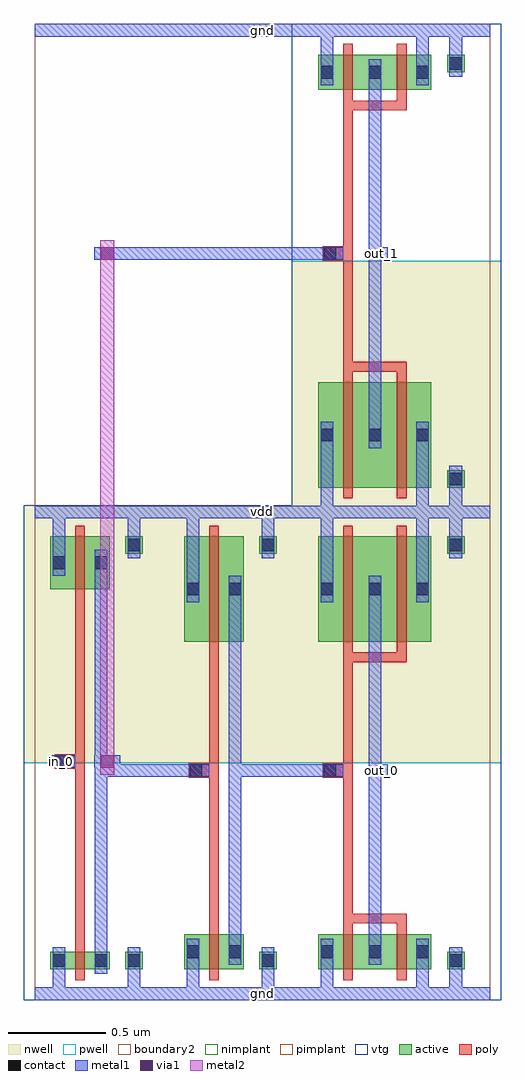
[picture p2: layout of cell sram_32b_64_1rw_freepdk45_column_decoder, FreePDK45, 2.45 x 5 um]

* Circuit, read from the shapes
.subckt sram_32b_64_1rw_freepdk45_column_decoder gnd in_0 out_0 out_1 vdd
M1 sram_32b_64_1rw_freepdk45_pinvbuf_0/sram_32b_64_1rw_freepdk45_pinv_2_1/A in_0 gnd gnd nfet w=0.09u l=0.05u
M2 sram_32b_64_1rw_freepdk45_pinvbuf_0/sram_32b_64_1rw_freepdk45_pinv_3_2/A sram_32b_64_1rw_freepdk45_pinvbuf_0/sram_32b_64_1rw_freepdk45_pinv_2_1/A gnd gnd nfet w=0.18u l=0.05u
M3 out_0 sram_32b_64_1rw_freepdk45_pinvbuf_0/sram_32b_64_1rw_freepdk45_pinv_3_2/A gnd gnd nfet w=0.18u l=0.05u m=2
M4 out_1 sram_32b_64_1rw_freepdk45_pinvbuf_0/sram_32b_64_1rw_freepdk45_pinv_2_1/A gnd gnd nfet w=0.18u l=0.05u m=2
M5 sram_32b_64_1rw_freepdk45_pinvbuf_0/sram_32b_64_1rw_freepdk45_pinv_2_1/A in_0 vdd vdd pfet w=0.27u l=0.05u
M6 sram_32b_64_1rw_freepdk45_pinvbuf_0/sram_32b_64_1rw_freepdk45_pinv_3_2/A sram_32b_64_1rw_freepdk45_pinvbuf_0/sram_32b_64_1rw_freepdk45_pinv_2_1/A vdd vdd pfet w=0.54u l=0.05u
M7 out_0 sram_32b_64_1rw_freepdk45_pinvbuf_0/sram_32b_64_1rw_freepdk45_pinv_3_2/A vdd vdd pfet w=0.54u l=0.05u m=2
M8 out_1 sram_32b_64_1rw_freepdk45_pinvbuf_0/sram_32b_64_1rw_freepdk45_pinv_2_1/A vdd vdd pfet w=0.54u l=0.05u m=2
.ends

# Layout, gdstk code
import gdstk
lib = gdstk.Library(unit=1e-6, precision=5e-10)
def R(c, l, rs):  # rectangles x0, y0, x1, y1
    for r in rs: c.add(gdstk.rectangle(r[:2], r[2:], *l))
def A(c, l, x, y, w, h, nx, ny, dx, dy):  # array of equal rectangles
    R(c, l, [(x+i*dx, y+j*dy, x+i*dx+w, y+j*dy+h) for i in range(nx) for j in range(ny)])
active = (1, 0)
pwell = (2, 0)
nwell = (3, 0)
nimplant = (4, 0)
pimplant = (5, 0)
vtg = (6, 0)
poly = (9, 0)
contact = (10, 0)
metal1 = (11, 0)
via1 = (12, 0)
metal2 = (13, 0)
boundary2 = (239, 0)

sram_32b_64_1rw_freepdk4 = lib.new_cell('sram_32b_64_1rw_freepdk45_contact_11')
R(sram_32b_64_1rw_freepdk4, active, [(0,0.0225,0.09,0.1125)])
R(sram_32b_64_1rw_freepdk4, nwell, [(-0.055,-0.0325,0.145,0.1675)])
R(sram_32b_64_1rw_freepdk4, pimplant, [(0,0.0225,0.09,0.1125)])
R(sram_32b_64_1rw_freepdk4, contact, [(0.0125,0.035,0.0775,0.1)])
R(sram_32b_64_1rw_freepdk4, metal1, [(0.0125,0,0.0775,0.135)])
R(sram_32b_64_1rw_freepdk4, boundary2, [(-0.055,-0.0325,0.145,0.1675)])

c_sram_32b_64_1rw_freepdk4 = lib.new_cell('sram_32b_64_1rw_freepdk45_pmos_m1_w0_270_sm1_dm1_da_p')
R(c_sram_32b_64_1rw_freepdk4, active, [(0,0,0.305,0.27)])
R(c_sram_32b_64_1rw_freepdk4, nwell, [(-0.08,-0.08,0.385,0.35)])
R(c_sram_32b_64_1rw_freepdk4, pimplant, [(0,0,0.305,0.27)])
R(c_sram_32b_64_1rw_freepdk4, vtg, [(-0.08,-0.08,0.385,0.35)])
R(c_sram_32b_64_1rw_freepdk4, poly, [(0.1275,-0.055,0.1775,0.325), (0.1275,-0.055,0.1775,0.325)])
R(c_sram_32b_64_1rw_freepdk4, metal1, [(0.0125,0.0675,0.0775,0.2025), (0.2275,0.0675,0.2925,0.2025)])
R(c_sram_32b_64_1rw_freepdk4, boundary2, [(-0.08,-0.08,0.385,0.35)])
c_sram_32b_64_1rw_freepdk4.add(gdstk.Reference(sram_32b_64_1rw_freepdk4, (0,0.0675)))
c_sram_32b_64_1rw_freepdk4.add(gdstk.Reference(sram_32b_64_1rw_freepdk4, (0.215,0.0675)))
c_sram_32b_64_1rw_freepdk4.add(gdstk.Label('G', (0.1525,0.135), layer=9, texttype=0))
c_sram_32b_64_1rw_freepdk4.add(gdstk.Label('S', (0.045,0.135), layer=11, texttype=0))
c_sram_32b_64_1rw_freepdk4.add(gdstk.Label('D', (0.26,0.135), layer=11, texttype=0))

c_sram_32b_64_1rw_freepdk4_ = lib.new_cell('sram_32b_64_1rw_freepdk45_contact_10')
R(c_sram_32b_64_1rw_freepdk4_, active, [(0,0.0225,0.09,0.1125)])
R(c_sram_32b_64_1rw_freepdk4_, pwell, [(-0.055,-0.0325,0.145,0.1675)])
R(c_sram_32b_64_1rw_freepdk4_, nimplant, [(0,0.0225,0.09,0.1125)])
R(c_sram_32b_64_1rw_freepdk4_, contact, [(0.0125,0.035,0.0775,0.1)])
R(c_sram_32b_64_1rw_freepdk4_, metal1, [(0.0125,0,0.0775,0.135)])
R(c_sram_32b_64_1rw_freepdk4_, boundary2, [(-0.055,-0.0325,0.145,0.1675)])

c_sram_32b_64_1rw_freepdk4__ = lib.new_cell('sram_32b_64_1rw_freepdk45_nmos_m1_w0_090_sm1_dm1_da_p')
R(c_sram_32b_64_1rw_freepdk4__, active, [(0,0,0.305,0.09)])
R(c_sram_32b_64_1rw_freepdk4__, pwell, [(-0.08,-0.08,0.385,0.17)])
R(c_sram_32b_64_1rw_freepdk4__, nimplant, [(0,0,0.305,0.09)])
R(c_sram_32b_64_1rw_freepdk4__, vtg, [(-0.08,-0.08,0.385,0.17)])
R(c_sram_32b_64_1rw_freepdk4__, poly, [(0.1275,-0.055,0.1775,0.145), (0.1275,-0.055,0.1775,0.145)])
R(c_sram_32b_64_1rw_freepdk4__, metal1, [(0.0125,-0.0225,0.0775,0.1125), (0.2275,-0.0225,0.2925,0.1125)])
R(c_sram_32b_64_1rw_freepdk4__, boundary2, [(-0.08,-0.08,0.385,0.17)])
c_sram_32b_64_1rw_freepdk4__.add(gdstk.Reference(c_sram_32b_64_1rw_freepdk4_, (0,-0.0225)))
c_sram_32b_64_1rw_freepdk4__.add(gdstk.Reference(c_sram_32b_64_1rw_freepdk4_, (0.215,-0.0225)))
c_sram_32b_64_1rw_freepdk4__.add(gdstk.Label('G', (0.1525,0.045), layer=9, texttype=0))
c_sram_32b_64_1rw_freepdk4__.add(gdstk.Label('S', (0.045,0.045), layer=11, texttype=0))
c_sram_32b_64_1rw_freepdk4__.add(gdstk.Label('D', (0.26,0.045), layer=11, texttype=0))

c_sram_32b_64_1rw_freepdk4___ = lib.new_cell('sram_32b_64_1rw_freepdk45_contact_12')
R(c_sram_32b_64_1rw_freepdk4___, active, [(0,0.0225,0.09,0.1125)])
R(c_sram_32b_64_1rw_freepdk4___, nwell, [(-0.055,-0.0325,0.145,0.1675)])
R(c_sram_32b_64_1rw_freepdk4___, nimplant, [(0,0.0225,0.09,0.1125)])
R(c_sram_32b_64_1rw_freepdk4___, contact, [(0.0125,0.035,0.0775,0.1)])
R(c_sram_32b_64_1rw_freepdk4___, metal1, [(0.0125,0,0.0775,0.135)])
R(c_sram_32b_64_1rw_freepdk4___, boundary2, [(-0.055,-0.0325,0.145,0.1675)])

c_sram_32b_64_1rw_freepdk4____ = lib.new_cell('sram_32b_64_1rw_freepdk45_contact_13')
R(c_sram_32b_64_1rw_freepdk4____, active, [(0,0.0225,0.09,0.1125)])
R(c_sram_32b_64_1rw_freepdk4____, pwell, [(-0.055,-0.0325,0.145,0.1675)])
R(c_sram_32b_64_1rw_freepdk4____, pimplant, [(0,0.0225,0.09,0.1125)])
R(c_sram_32b_64_1rw_freepdk4____, contact, [(0.0125,0.035,0.0775,0.1)])
R(c_sram_32b_64_1rw_freepdk4____, metal1, [(0.0125,0,0.0775,0.135)])
R(c_sram_32b_64_1rw_freepdk4____, boundary2, [(-0.055,-0.0325,0.145,0.1675)])

c_sram_32b_64_1rw_freepdk4_____ = lib.new_cell('sram_32b_64_1rw_freepdk45_contact_14')
R(c_sram_32b_64_1rw_freepdk4_____, poly, [(0.03,0,0.105,0.075)])
R(c_sram_32b_64_1rw_freepdk4_____, contact, [(0.035,0.005,0.1,0.07)])
R(c_sram_32b_64_1rw_freepdk4_____, metal1, [(0,0.005,0.135,0.07)])
R(c_sram_32b_64_1rw_freepdk4_____, boundary2, [(0,0,0.135,0.075)])

c_sram_32b_64_1rw_freepdk4______ = lib.new_cell('sram_32b_64_1rw_freepdk45_pinv_1')
R(c_sram_32b_64_1rw_freepdk4______, pwell, [(-0.055,-0.0325,0.7425,1.185)])
R(c_sram_32b_64_1rw_freepdk4______, nwell, [(-0.055,1.185,0.7425,2.505)])
R(c_sram_32b_64_1rw_freepdk4______, vtg, [(-0.055,-0.0325,0.7425,1.185), (-0.055,1.185,0.7425,2.505)])
R(c_sram_32b_64_1rw_freepdk4______, poly, [(0.2075,0.27,0.2575,2.02), (0.14,1.1525,0.2075,1.2275)])
R(c_sram_32b_64_1rw_freepdk4______, metal1, [(0,-0.0325,0.6875,0.0325), (0.0925,-0.0325,0.1575,0.1025), (0.4775,0,0.5425,0.17), (0.3075,0.1025,0.3725,2.2775), (0.0725,1.1575,0.2075,1.2225), (0.34,1.1575,0.405,1.2225), (0.0925,2.1425,0.1575,2.5025), (0.4775,2.3,0.5425,2.47), (0,2.4375,0.6875,2.5025)])
R(c_sram_32b_64_1rw_freepdk4______, boundary2, [(0,0,0.6875,2.47), (0,0,0.6875,2.47)])
c_sram_32b_64_1rw_freepdk4______.add(gdstk.Reference(c_sram_32b_64_1rw_freepdk4, (0.08,2.075)))
c_sram_32b_64_1rw_freepdk4______.add(gdstk.Reference(c_sram_32b_64_1rw_freepdk4__, (0.08,0.125)))
c_sram_32b_64_1rw_freepdk4______.add(gdstk.Reference(c_sram_32b_64_1rw_freepdk4___, (0.465,2.2325)))
c_sram_32b_64_1rw_freepdk4______.add(gdstk.Reference(c_sram_32b_64_1rw_freepdk4____, (0.465,0.1025)))
c_sram_32b_64_1rw_freepdk4______.add(gdstk.Reference(c_sram_32b_64_1rw_freepdk4_____, (0.0725,1.1525)))
c_sram_32b_64_1rw_freepdk4______.add(gdstk.Label('A', (0.14,1.19), layer=11, texttype=0))
c_sram_32b_64_1rw_freepdk4______.add(gdstk.Label('Z', (0.3725,1.19), layer=11, texttype=0))
c_sram_32b_64_1rw_freepdk4______.add(gdstk.Label('gnd', (0.344,0), layer=11, texttype=0))
c_sram_32b_64_1rw_freepdk4______.add(gdstk.Label('vdd', (0.344,2.47), layer=11, texttype=0))

c_sram_32b_64_1rw_freepdk4_______ = lib.new_cell('sram_32b_64_1rw_freepdk45_pmos_m1_w0_540_sm1_dm1_da_p')
R(c_sram_32b_64_1rw_freepdk4_______, active, [(0,0,0.305,0.54)])
R(c_sram_32b_64_1rw_freepdk4_______, nwell, [(-0.08,-0.08,0.385,0.62)])
R(c_sram_32b_64_1rw_freepdk4_______, pimplant, [(0,0,0.305,0.54)])
R(c_sram_32b_64_1rw_freepdk4_______, vtg, [(-0.08,-0.08,0.385,0.62)])
R(c_sram_32b_64_1rw_freepdk4_______, poly, [(0.1275,-0.055,0.1775,0.595), (0.1275,-0.055,0.1775,0.595)])
R(c_sram_32b_64_1rw_freepdk4_______, metal1, [(0.0125,0.2025,0.0775,0.3375), (0.2275,0.2025,0.2925,0.3375)])
R(c_sram_32b_64_1rw_freepdk4_______, boundary2, [(-0.08,-0.08,0.385,0.62)])
c_sram_32b_64_1rw_freepdk4_______.add(gdstk.Reference(sram_32b_64_1rw_freepdk4, (0,0.2025)))
c_sram_32b_64_1rw_freepdk4_______.add(gdstk.Reference(sram_32b_64_1rw_freepdk4, (0.215,0.2025)))
c_sram_32b_64_1rw_freepdk4_______.add(gdstk.Label('G', (0.1525,0.27), layer=9, texttype=0))
c_sram_32b_64_1rw_freepdk4_______.add(gdstk.Label('S', (0.045,0.27), layer=11, texttype=0))
c_sram_32b_64_1rw_freepdk4_______.add(gdstk.Label('D', (0.26,0.27), layer=11, texttype=0))

c_sram_32b_64_1rw_freepdk4________ = lib.new_cell('sram_32b_64_1rw_freepdk45_nmos_m1_w0_180_sm1_dm1_da_p')
R(c_sram_32b_64_1rw_freepdk4________, active, [(0,0,0.305,0.18)])
R(c_sram_32b_64_1rw_freepdk4________, pwell, [(-0.08,-0.08,0.385,0.26)])
R(c_sram_32b_64_1rw_freepdk4________, nimplant, [(0,0,0.305,0.18)])
R(c_sram_32b_64_1rw_freepdk4________, vtg, [(-0.08,-0.08,0.385,0.26)])
R(c_sram_32b_64_1rw_freepdk4________, poly, [(0.1275,-0.055,0.1775,0.235), (0.1275,-0.055,0.1775,0.235)])
R(c_sram_32b_64_1rw_freepdk4________, metal1, [(0.0125,0.0225,0.0775,0.1575), (0.2275,0.0225,0.2925,0.1575)])
R(c_sram_32b_64_1rw_freepdk4________, boundary2, [(-0.08,-0.08,0.385,0.26)])
c_sram_32b_64_1rw_freepdk4________.add(gdstk.Reference(c_sram_32b_64_1rw_freepdk4_, (0,0.0225)))
c_sram_32b_64_1rw_freepdk4________.add(gdstk.Reference(c_sram_32b_64_1rw_freepdk4_, (0.215,0.0225)))
c_sram_32b_64_1rw_freepdk4________.add(gdstk.Label('G', (0.1525,0.09), layer=9, texttype=0))
c_sram_32b_64_1rw_freepdk4________.add(gdstk.Label('S', (0.045,0.09), layer=11, texttype=0))
c_sram_32b_64_1rw_freepdk4________.add(gdstk.Label('D', (0.26,0.09), layer=11, texttype=0))

c_sram_32b_64_1rw_freepdk4_________ = lib.new_cell('sram_32b_64_1rw_freepdk45_pinv_2')
R(c_sram_32b_64_1rw_freepdk4_________, pwell, [(-0.055,-0.0325,0.7425,1.185)])
R(c_sram_32b_64_1rw_freepdk4_________, nwell, [(-0.055,1.185,0.7425,2.505)])
R(c_sram_32b_64_1rw_freepdk4_________, vtg, [(-0.055,-0.0325,0.7425,1.185), (-0.055,1.185,0.7425,2.505)])
R(c_sram_32b_64_1rw_freepdk4_________, poly, [(0.2075,0.36,0.2575,1.75), (0.14,1.1075,0.2075,1.1825)])
R(c_sram_32b_64_1rw_freepdk4_________, metal1, [(0,-0.0325,0.6875,0.0325), (0.0925,-0.0325,0.1575,0.1475), (0.4775,0,0.5425,0.17), (0.3075,0.1475,0.3725,2.1425), (0.0725,1.1125,0.2075,1.1775), (0.34,1.1125,0.405,1.1775), (0.0925,2.0075,0.1575,2.5025), (0.4775,2.3,0.5425,2.47), (0,2.4375,0.6875,2.5025)])
R(c_sram_32b_64_1rw_freepdk4_________, boundary2, [(0,0,0.6875,2.47), (0,0,0.6875,2.47)])
c_sram_32b_64_1rw_freepdk4_________.add(gdstk.Reference(c_sram_32b_64_1rw_freepdk4_______, (0.08,1.805)))
c_sram_32b_64_1rw_freepdk4_________.add(gdstk.Reference(c_sram_32b_64_1rw_freepdk4________, (0.08,0.125)))
c_sram_32b_64_1rw_freepdk4_________.add(gdstk.Reference(c_sram_32b_64_1rw_freepdk4___, (0.465,2.2325)))
c_sram_32b_64_1rw_freepdk4_________.add(gdstk.Reference(c_sram_32b_64_1rw_freepdk4____, (0.465,0.1025)))
c_sram_32b_64_1rw_freepdk4_________.add(gdstk.Reference(c_sram_32b_64_1rw_freepdk4_____, (0.0725,1.1075)))
c_sram_32b_64_1rw_freepdk4_________.add(gdstk.Label('A', (0.14,1.145), layer=11, texttype=0))
c_sram_32b_64_1rw_freepdk4_________.add(gdstk.Label('Z', (0.3725,1.145), layer=11, texttype=0))
c_sram_32b_64_1rw_freepdk4_________.add(gdstk.Label('gnd', (0.344,0), layer=11, texttype=0))
c_sram_32b_64_1rw_freepdk4_________.add(gdstk.Label('vdd', (0.344,2.47), layer=11, texttype=0))

c_sram_32b_64_1rw_freepdk4__________ = lib.new_cell('sram_32b_64_1rw_freepdk45_pmos_m2_w0_540_sm1_dm1_da_p')
R(c_sram_32b_64_1rw_freepdk4__________, active, [(0,0,0.58,0.54)])
R(c_sram_32b_64_1rw_freepdk4__________, nwell, [(-0.08,-0.08,0.66,0.62)])
R(c_sram_32b_64_1rw_freepdk4__________, pimplant, [(0,0,0.58,0.54)])
R(c_sram_32b_64_1rw_freepdk4__________, vtg, [(-0.08,-0.08,0.66,0.62)])
R(c_sram_32b_64_1rw_freepdk4__________, poly, [(0.1275,-0.105,0.4525,-0.055), (0.1275,-0.055,0.1775,0.595), (0.4025,-0.055,0.4525,0.595)])
A(c_sram_32b_64_1rw_freepdk4__________, metal1, 0.0125, 0.2025, 0.065, 0.135, 3, 1, 0.245, 0)
R(c_sram_32b_64_1rw_freepdk4__________, boundary2, [(-0.08,-0.105,0.66,0.62)])
c_sram_32b_64_1rw_freepdk4__________.add(gdstk.Reference(sram_32b_64_1rw_freepdk4, (0,0.2025)))
c_sram_32b_64_1rw_freepdk4__________.add(gdstk.Reference(sram_32b_64_1rw_freepdk4, (0.245,0.2025)))
c_sram_32b_64_1rw_freepdk4__________.add(gdstk.Reference(sram_32b_64_1rw_freepdk4, (0.49,0.2025)))
c_sram_32b_64_1rw_freepdk4__________.add(gdstk.Label('G', (0.29,-0.08), layer=9, texttype=0))
c_sram_32b_64_1rw_freepdk4__________.add(gdstk.Label('S', (0.045,0.27), layer=11, texttype=0))
c_sram_32b_64_1rw_freepdk4__________.add(gdstk.Label('S', (0.535,0.27), layer=11, texttype=0))
c_sram_32b_64_1rw_freepdk4__________.add(gdstk.Label('D', (0.29,0.27), layer=11, texttype=0))

c_sram_32b_64_1rw_freepdk4___________ = lib.new_cell('sram_32b_64_1rw_freepdk45_nmos_m2_w0_180_sm1_dm1_da_p')
R(c_sram_32b_64_1rw_freepdk4___________, active, [(0,0,0.58,0.18)])
R(c_sram_32b_64_1rw_freepdk4___________, pwell, [(-0.08,-0.08,0.66,0.26)])
R(c_sram_32b_64_1rw_freepdk4___________, nimplant, [(0,0,0.58,0.18)])
R(c_sram_32b_64_1rw_freepdk4___________, vtg, [(-0.08,-0.08,0.66,0.26)])
R(c_sram_32b_64_1rw_freepdk4___________, poly, [(0.1275,-0.055,0.1775,0.235), (0.4025,-0.055,0.4525,0.235), (0.1275,0.235,0.4525,0.285)])
A(c_sram_32b_64_1rw_freepdk4___________, metal1, 0.0125, 0.0225, 0.065, 0.135, 3, 1, 0.245, 0)
R(c_sram_32b_64_1rw_freepdk4___________, boundary2, [(-0.08,-0.08,0.66,0.285)])
c_sram_32b_64_1rw_freepdk4___________.add(gdstk.Reference(c_sram_32b_64_1rw_freepdk4_, (0,0.0225)))
c_sram_32b_64_1rw_freepdk4___________.add(gdstk.Reference(c_sram_32b_64_1rw_freepdk4_, (0.245,0.0225)))
c_sram_32b_64_1rw_freepdk4___________.add(gdstk.Reference(c_sram_32b_64_1rw_freepdk4_, (0.49,0.0225)))
c_sram_32b_64_1rw_freepdk4___________.add(gdstk.Label('G', (0.29,0.26), layer=9, texttype=0))
c_sram_32b_64_1rw_freepdk4___________.add(gdstk.Label('S', (0.045,0.09), layer=11, texttype=0))
c_sram_32b_64_1rw_freepdk4___________.add(gdstk.Label('S', (0.535,0.09), layer=11, texttype=0))
c_sram_32b_64_1rw_freepdk4___________.add(gdstk.Label('D', (0.29,0.09), layer=11, texttype=0))

c_sram_32b_64_1rw_freepdk4____________ = lib.new_cell('sram_32b_64_1rw_freepdk45_pinv_3')
R(c_sram_32b_64_1rw_freepdk4____________, pwell, [(-0.055,-0.0325,1.0175,1.185)])
R(c_sram_32b_64_1rw_freepdk4____________, nwell, [(-0.055,1.185,1.0175,2.505)])
R(c_sram_32b_64_1rw_freepdk4____________, vtg, [(-0.055,-0.0325,1.0175,1.185), (-0.055,1.185,1.0175,2.505)])
R(c_sram_32b_64_1rw_freepdk4____________, poly, [(0.2075,0.41,0.2575,1.7), (0.14,1.1075,0.2075,1.1825)])
R(c_sram_32b_64_1rw_freepdk4____________, metal1, [(0,-0.0325,0.9625,0.0325), (0.0925,-0.0325,0.1575,0.1475), (0.5825,-0.0325,0.6475,0.1475), (0.7525,0,0.8175,0.17), (0.3375,0.1475,0.4025,2.1425), (0.0725,1.1125,0.2075,1.1775), (0.37,1.1125,0.435,1.1775), (0.0925,2.0075,0.1575,2.5025), (0.5825,2.0075,0.6475,2.5025), (0.7525,2.3,0.8175,2.47), (0,2.4375,0.9625,2.5025)])
R(c_sram_32b_64_1rw_freepdk4____________, boundary2, [(0,0,0.9625,2.47), (0,0,0.9625,2.47)])
c_sram_32b_64_1rw_freepdk4____________.add(gdstk.Reference(c_sram_32b_64_1rw_freepdk4__________, (0.08,1.805)))
c_sram_32b_64_1rw_freepdk4____________.add(gdstk.Reference(c_sram_32b_64_1rw_freepdk4___________, (0.08,0.125)))
c_sram_32b_64_1rw_freepdk4____________.add(gdstk.Reference(c_sram_32b_64_1rw_freepdk4___, (0.74,2.2325)))
c_sram_32b_64_1rw_freepdk4____________.add(gdstk.Reference(c_sram_32b_64_1rw_freepdk4____, (0.74,0.1025)))
c_sram_32b_64_1rw_freepdk4____________.add(gdstk.Reference(c_sram_32b_64_1rw_freepdk4_____, (0.0725,1.1075)))
c_sram_32b_64_1rw_freepdk4____________.add(gdstk.Label('A', (0.14,1.145), layer=11, texttype=0))
c_sram_32b_64_1rw_freepdk4____________.add(gdstk.Label('Z', (0.4025,1.145), layer=11, texttype=0))
c_sram_32b_64_1rw_freepdk4____________.add(gdstk.Label('gnd', (0.481,0), layer=11, texttype=0))
c_sram_32b_64_1rw_freepdk4____________.add(gdstk.Label('vdd', (0.481,2.47), layer=11, texttype=0))

c_sram_32b_64_1rw_freepdk4_____________ = lib.new_cell('sram_32b_64_1rw_freepdk45_contact_17')
R(c_sram_32b_64_1rw_freepdk4_____________, metal1, [(0,0.035,0.135,0.1)])
R(c_sram_32b_64_1rw_freepdk4_____________, via1, [(0.035,0.035,0.1,0.1)])
R(c_sram_32b_64_1rw_freepdk4_____________, metal2, [(0.0325,0,0.1025,0.135)])
R(c_sram_32b_64_1rw_freepdk4_____________, boundary2, [(0,0,0.135,0.135)])

c_sram_32b_64_1rw_freepdk4______________ = lib.new_cell('sram_32b_64_1rw_freepdk45_pinvbuf')
A(c_sram_32b_64_1rw_freepdk4______________, metal1, 0, 0, 2.3375, 0.065, 1, 3, 0, 2.47)
R(c_sram_32b_64_1rw_freepdk4______________, metal1, [(0.34,1.145,0.405,1.21), (0.3725,1.145,0.8275,1.21), (0.795,1.145,0.86,1.21), (1.06,1.145,1.515,1.21), (1.4825,1.145,1.5475,1.21), (1.745,1.145,1.81,1.21), (0.34,1.1775,0.405,1.2225), (0.1075,1.19,0.1725,1.255), (0.3725,3.795,1.515,3.86), (1.745,3.795,1.81,3.86)])
R(c_sram_32b_64_1rw_freepdk4______________, metal2, [(0.3375,1.2225,0.4075,3.8275)])
R(c_sram_32b_64_1rw_freepdk4______________, boundary2, [(0,0,2.3375,4.94), (0,0.0325,2.3375,4.9725)])
c_sram_32b_64_1rw_freepdk4______________.add(gdstk.Reference(c_sram_32b_64_1rw_freepdk4______, (0,0.0325)))
c_sram_32b_64_1rw_freepdk4______________.add(gdstk.Reference(c_sram_32b_64_1rw_freepdk4_________, (0.6875,0.0325)))
c_sram_32b_64_1rw_freepdk4______________.add(gdstk.Reference(c_sram_32b_64_1rw_freepdk4____________, (1.375,0.0325)))
c_sram_32b_64_1rw_freepdk4______________.add(gdstk.Reference(c_sram_32b_64_1rw_freepdk4____________, (1.375,4.9725), x_reflection=True))
c_sram_32b_64_1rw_freepdk4______________.add(gdstk.Reference(c_sram_32b_64_1rw_freepdk4_____________, (0.305,3.76)))
c_sram_32b_64_1rw_freepdk4______________.add(gdstk.Reference(c_sram_32b_64_1rw_freepdk4_____________, (0.305,1.155)))
c_sram_32b_64_1rw_freepdk4______________.add(gdstk.Label('vdd', (1.169,2.5025), layer=11, texttype=0))
c_sram_32b_64_1rw_freepdk4______________.add(gdstk.Label('gnd', (1.169,4.9725), layer=11, texttype=0))
c_sram_32b_64_1rw_freepdk4______________.add(gdstk.Label('gnd', (1.169,0.0325), layer=11, texttype=0))
c_sram_32b_64_1rw_freepdk4______________.add(gdstk.Label('Z', (1.7775,3.8275), layer=11, texttype=0))
c_sram_32b_64_1rw_freepdk4______________.add(gdstk.Label('Zb', (1.7775,1.1775), layer=11, texttype=0))
c_sram_32b_64_1rw_freepdk4______________.add(gdstk.Label('A', (0.14,1.2225), layer=11, texttype=0))

c_sram_32b_64_1rw_freepdk4_______________ = lib.new_cell('sram_32b_64_1rw_freepdk45_column_decoder')
A(c_sram_32b_64_1rw_freepdk4_______________, metal1, 0, 0, 2.3375, 0.065, 1, 3, 0, 2.47)
R(c_sram_32b_64_1rw_freepdk4_______________, metal1, [(1.745,1.145,1.81,1.21), (0.1075,1.19,0.1725,1.255), (1.745,3.795,1.81,3.86)])
R(c_sram_32b_64_1rw_freepdk4_______________, boundary2, [(0,0,2.3375,5.005)])
c_sram_32b_64_1rw_freepdk4_______________.add(gdstk.Reference(c_sram_32b_64_1rw_freepdk4______________, (0,0)))
c_sram_32b_64_1rw_freepdk4_______________.add(gdstk.Label('in_0', (0.14,1.2225), layer=11, texttype=0))
c_sram_32b_64_1rw_freepdk4_______________.add(gdstk.Label('out_0', (1.7775,1.1775), layer=11, texttype=0))
c_sram_32b_64_1rw_freepdk4_______________.add(gdstk.Label('out_1', (1.7775,3.8275), layer=11, texttype=0))
c_sram_32b_64_1rw_freepdk4_______________.add(gdstk.Label('vdd', (1.169,2.5025), layer=11, texttype=0))
c_sram_32b_64_1rw_freepdk4_______________.add(gdstk.Label('gnd', (1.169,4.9725), layer=11, texttype=0))
c_sram_32b_64_1rw_freepdk4_______________.add(gdstk.Label('gnd', (1.169,0.0325), layer=11, texttype=0))

lib.write_gds('sram_32b_64_1rw_freepdk45_column_decoder.gds')
